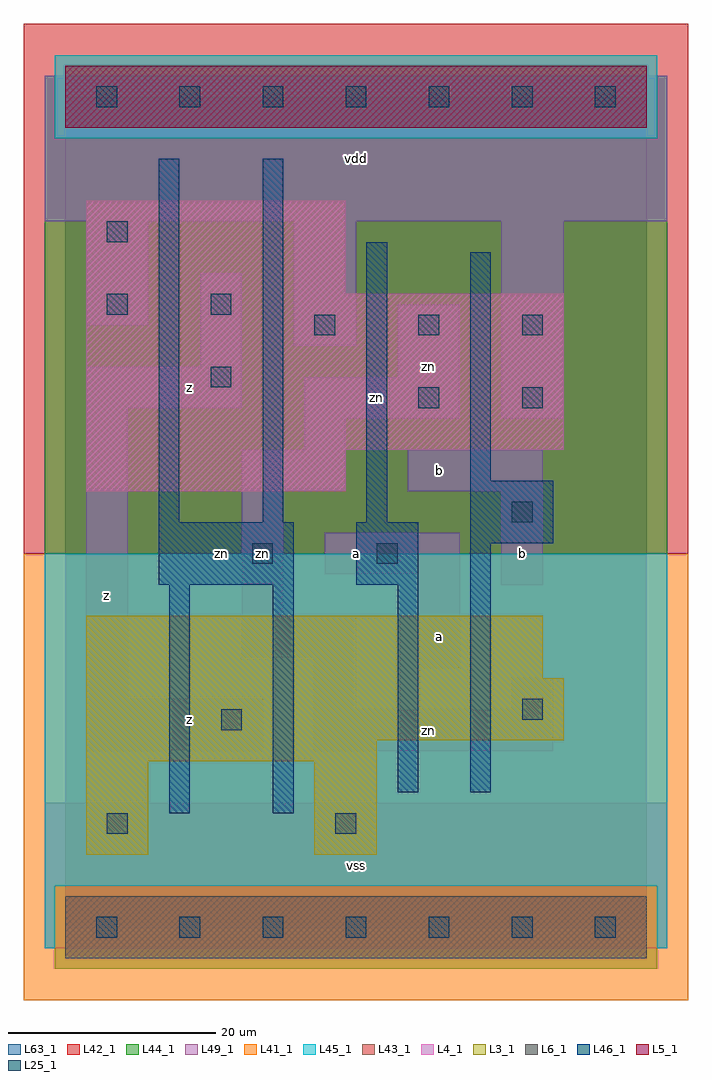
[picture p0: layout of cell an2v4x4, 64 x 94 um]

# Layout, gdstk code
import gdstk
lib = gdstk.Library(unit=1e-6, precision=1e-09)
def R(c, l, rs):  # rectangles x0, y0, x1, y1
    for r in rs: c.add(gdstk.rectangle(r[:2], r[2:], *l))
def A(c, l, x, y, w, h, nx, ny, dx, dy):  # array of equal rectangles
    R(c, l, [(x+i*dx, y+j*dy, x+i*dx+w, y+j*dy+h) for i in range(nx) for j in range(ny)])
L3_1 = (3, 1)
L4_1 = (4, 1)
L5_1 = (5, 1)
L6_1 = (6, 1)
L25_1 = (25, 1)
L41_1 = (41, 1)
L42_1 = (42, 1)
L43_1 = (43, 1)
L44_1 = (44, 1)
L45_1 = (45, 1)
L46_1 = (46, 1)
L49_1 = (49, 1)
L63_1 = (63, 1)

an2v4x4 = lib.new_cell('an2v4x4')
R(an2v4x4, L3_1, [(2,7,8,16), (24,7,30,16), (2,16,30,18), (2,18,48,24), (2,24,46,30)])
R(an2v4x4, L4_1, [(2,42,27,46), (2,46,48,61), (2,61,27,70)])
R(an2v4x4, L5_1, [(0,77,56,83)])
R(an2v4x4, L6_1, [(0,-3,56,3), (0,-3,56,3)])
A(an2v4x4, L25_1, 3, -1, 2, 2, 7, 2, 8, 80)
A(an2v4x4, L25_1, 24, 57, 2, 2, 3, 1, 10, 0)
R(an2v4x4, L25_1, [(4,9,6,11), (26,9,28,11), (15,19,17,21), (44,20,46,22), (18,35,20,37), (30,35,32,37), (43,39,45,41), (34,50,36,52), (44,50,46,52), (14,52,16,54), (4,59,6,61), (14,59,16,61), (4,66,6,68)])
R(an2v4x4, L41_1, [(-4,-7,60,36)])
R(an2v4x4, L42_1, [(-4,36,60,87)])
R(an2v4x4, L43_1, [(0,-3,56,3), (2,7,8,16), (24,7,30,16), (2,16,30,18), (2,18,48,24), (2,24,46,30), (2,42,27,46), (2,46,48,61), (2,61,27,70), (0,77,56,83)])
R(an2v4x4, L44_1, [(-1,-4,57,4), (-2,36,58,76), (-2,76,-1,82), (57,76,58,82)])
R(an2v4x4, L45_1, [(-2,-2,-1,4), (57,-2,58,4), (-2,4,58,36), (-1,76,57,84)])
R(an2v4x4, L46_1, [(10,11,12,33), (20,11,22,33), (32,13,34,33), (39,13,41,37), (9,33,22,39), (28,33,34,39), (39,37,47,43), (9,39,11,74), (19,39,21,74), (29,39,31,66), (39,43,41,65)])
R(an2v4x4, L49_1, [(-2,-2,58,12), (2,17,19,22), (24,17,47,21), (24,21,28,26), (43,21,47,24), (2,22,6,50), (34,25,38,34), (17,26,28,30), (17,30,21,42), (42,33,46,42), (25,34,38,38), (17,42,27,46), (33,42,46,46), (23,46,27,49), (23,49,38,53), (42,49,48,68), (2,50,17,54), (32,53,38,60), (13,54,17,63), (22,56,28,68), (2,58,8,68), (-2,68,58,82)])
R(an2v4x4, L63_1, [(0,0,56,80)])
an2v4x4.add(gdstk.Label('zn', (15,36), layer=46, texttype=1))
an2v4x4.add(gdstk.Label('z', (4,32), layer=49, texttype=1))
an2v4x4.add(gdstk.Label('z', (12,20), layer=49, texttype=1))
an2v4x4.add(gdstk.Label('zn', (19,36), layer=49, texttype=1))
an2v4x4.add(gdstk.Label('z', (12,52), layer=49, texttype=1))
an2v4x4.add(gdstk.Label('vss', (28,6), layer=49, texttype=1))
an2v4x4.add(gdstk.Label('a', (28,36), layer=49, texttype=1))
an2v4x4.add(gdstk.Label('a', (36,28), layer=49, texttype=1))
an2v4x4.add(gdstk.Label('b', (36,44), layer=49, texttype=1))
an2v4x4.add(gdstk.Label('zn', (30,51), layer=49, texttype=1))
an2v4x4.add(gdstk.Label('zn', (35,54), layer=49, texttype=1))
an2v4x4.add(gdstk.Label('vdd', (28,74), layer=49, texttype=1))
an2v4x4.add(gdstk.Label('zn', (35,19), layer=49, texttype=1))
an2v4x4.add(gdstk.Label('b', (44,36), layer=49, texttype=1))

lib.write_gds('an2v4x4.gds')
